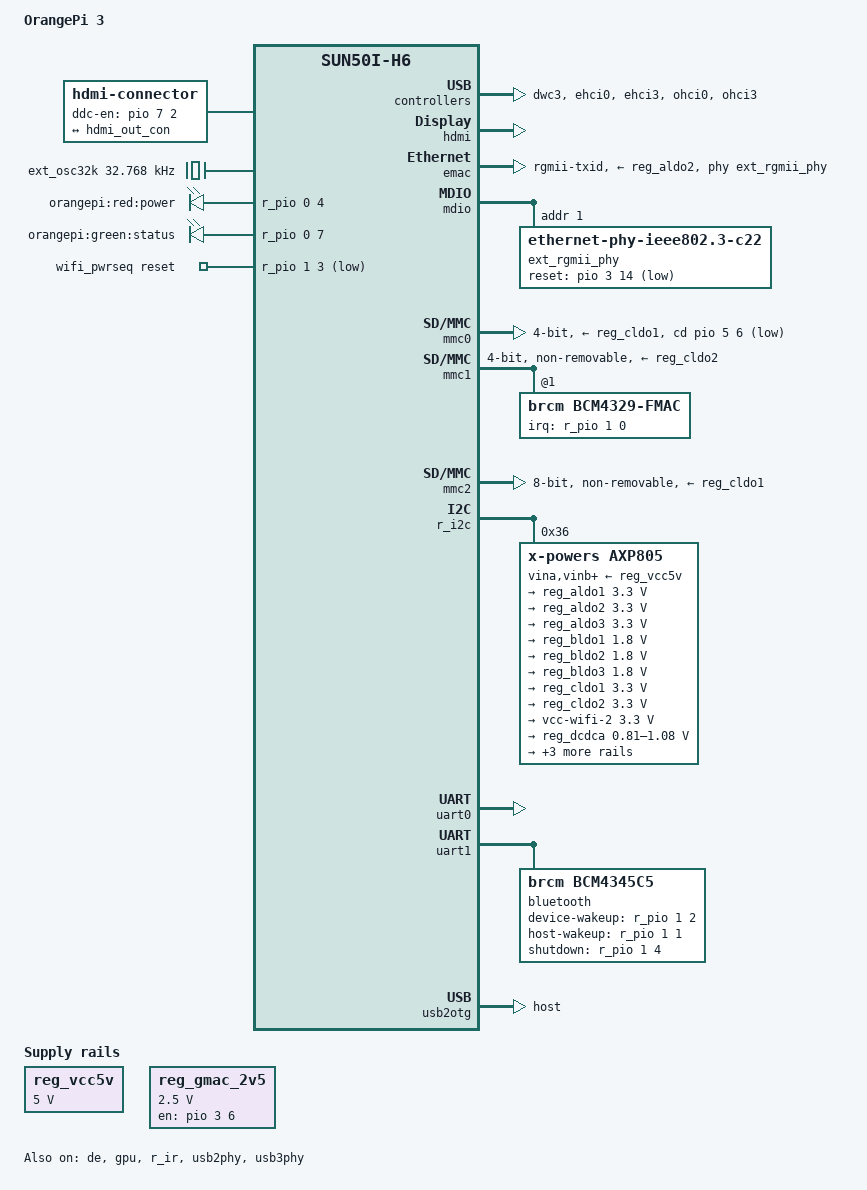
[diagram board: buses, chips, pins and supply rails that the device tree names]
// SPDX-License-Identifier: (GPL-2.0+ OR MIT)
// Copyright (C) 2019 Ondřej Jirman <megous@megous.com>

/dts-v1/;

#include "sun50i-h6.dtsi"
#include "sun50i-h6-cpu-opp.dtsi"

#include <dt-bindings/gpio/gpio.h>

/ {
	model = "OrangePi 3";
	compatible = "xunlong,orangepi-3", "allwinner,sun50i-h6";

	aliases {
		serial0 = &uart0;
		serial1 = &uart1;
		ethernet0 = &emac;
	};

	chosen {
		stdout-path = "serial0:115200n8";
	};

	connector {
		compatible = "hdmi-connector";
		ddc-en-gpios = <&pio 7 2 GPIO_ACTIVE_HIGH>; /* PH2 */
		type = "a";

		port {
			hdmi_con_in: endpoint {
				remote-endpoint = <&hdmi_out_con>;
			};
		};
	};

	ext_osc32k: ext_osc32k_clk {
		#clock-cells = <0>;
		compatible = "fixed-clock";
		clock-frequency = <32768>;
		clock-output-names = "ext_osc32k";
	};

	leds {
		compatible = "gpio-leds";

		power {
			label = "orangepi:red:power";
			gpios = <&r_pio 0 4 GPIO_ACTIVE_HIGH>; /* PL4 */
			default-state = "on";
		};

		status {
			label = "orangepi:green:status";
			gpios = <&r_pio 0 7 GPIO_ACTIVE_HIGH>; /* PL7 */
		};
	};

	reg_vcc5v: vcc5v {
		/* board wide 5V supply directly from the DC jack */
		compatible = "regulator-fixed";
		regulator-name = "vcc-5v";
		regulator-min-microvolt = <5000000>;
		regulator-max-microvolt = <5000000>;
		regulator-always-on;
	};

	reg_gmac_2v5: gmac-2v5 {
		compatible = "regulator-fixed";
		regulator-name = "gmac-2v5";
		regulator-min-microvolt = <2500000>;
		regulator-max-microvolt = <2500000>;
		enable-active-high;
		gpio = <&pio 3 6 GPIO_ACTIVE_HIGH>; /* PD6 */
	};

	wifi_pwrseq: wifi-pwrseq {
		compatible = "mmc-pwrseq-simple";
		clocks = <&rtc 1>;
		clock-names = "ext_clock";
		reset-gpios = <&r_pio 1 3 GPIO_ACTIVE_LOW>; /* PM3 */
		post-power-on-delay-ms = <200>;
	};
};

&cpu0 {
	cpu-supply = <&reg_dcdca>;
};

&de {
	status = "okay";
};

&dwc3 {
	status = "okay";
};

&ehci0 {
	status = "okay";
};

&ehci3 {
	status = "okay";
};

&gpu {
	mali-supply = <&reg_dcdcc>;
	status = "okay";
};

&hdmi {
	status = "okay";
};

&hdmi_out {
	hdmi_out_con: endpoint {
		remote-endpoint = <&hdmi_con_in>;
	};
};

&emac {
	pinctrl-names = "default";
	pinctrl-0 = <&ext_rgmii_pins>;
	phy-mode = "rgmii-txid";
	phy-handle = <&ext_rgmii_phy>;
	/*
	 * The board uses 2.5V RGMII signalling. Power sequence to enable
	 * the phy is to enable GMAC-2V5 and GMAC-3V (aldo2) power rails
	 * at the same time and to wait 100ms. The driver enables phy-io
	 * first. Delay is achieved with enable-ramp-delay on reg_aldo2.
	 */
	phy-supply = <&reg_aldo2>;
	phy-io-supply = <&reg_gmac_2v5>;
	allwinner,rx-delay-ps = <1500>;
	allwinner,tx-delay-ps = <700>;
	status = "okay";
};

&mdio {
	ext_rgmii_phy: ethernet-phy@1 {
		compatible = "ethernet-phy-ieee802.3-c22";
		reg = <1>;

		reset-gpios = <&pio 3 14 GPIO_ACTIVE_LOW>; /* PD14 */
		reset-assert-us = <15000>;
		reset-deassert-us = <40000>;
	};
};

&mmc0 {
	vmmc-supply = <&reg_cldo1>;
	cd-gpios = <&pio 5 6 GPIO_ACTIVE_LOW>; /* PF6 */
	bus-width = <4>;
	status = "okay";
};

&mmc1 {
	vmmc-supply = <&reg_cldo2>;
	vqmmc-supply = <&reg_bldo3>;
	mmc-pwrseq = <&wifi_pwrseq>;
	bus-width = <4>;
	non-removable;
	status = "okay";

	brcm: sdio-wifi@1 {
		reg = <1>;
		compatible = "brcm,bcm4329-fmac";
		interrupt-parent = <&r_pio>;
		interrupts = <1 0 IRQ_TYPE_LEVEL_LOW>; /* PM0 */
		interrupt-names = "host-wake";
	};
};

&mmc2 {
	vmmc-supply = <&reg_cldo1>;
	vqmmc-supply = <&reg_bldo2>;
	cap-mmc-hw-reset;
	non-removable;
	bus-width = <8>;
	status = "okay";
};

&ohci0 {
	status = "okay";
};

&ohci3 {
	status = "okay";
};

&pio {
	vcc-pc-supply = <&reg_bldo2>;
	vcc-pd-supply = <&reg_cldo1>;
	vcc-pg-supply = <&reg_bldo3>;
};

&r_i2c {
	status = "okay";

	axp805: pmic@36 {
		compatible = "x-powers,axp805", "x-powers,axp806";
		reg = <0x36>;
		interrupt-parent = <&r_intc>;
		interrupts = <GIC_SPI 96 IRQ_TYPE_LEVEL_LOW>;
		interrupt-controller;
		#interrupt-cells = <1>;
		x-powers,self-working-mode;
		vina-supply = <&reg_vcc5v>;
		vinb-supply = <&reg_vcc5v>;
		vinc-supply = <&reg_vcc5v>;
		vind-supply = <&reg_vcc5v>;
		vine-supply = <&reg_vcc5v>;
		aldoin-supply = <&reg_vcc5v>;
		bldoin-supply = <&reg_vcc5v>;
		cldoin-supply = <&reg_vcc5v>;

		regulators {
			reg_aldo1: aldo1 {
				regulator-always-on;
				regulator-min-microvolt = <3300000>;
				regulator-max-microvolt = <3300000>;
				regulator-name = "vcc-pl-led-ir";
			};

			reg_aldo2: aldo2 {
				regulator-min-microvolt = <3300000>;
				regulator-max-microvolt = <3300000>;
				regulator-name = "vcc33-audio-tv-ephy-mac";
				regulator-enable-ramp-delay = <100000>;
			};

			/* ALDO3 is shorted to CLDO1 */
			reg_aldo3: aldo3 {
				regulator-always-on;
				regulator-min-microvolt = <3300000>;
				regulator-max-microvolt = <3300000>;
				regulator-name = "vcc33-io-pd-emmc-sd-usb-uart-1";
			};

			reg_bldo1: bldo1 {
				regulator-always-on;
				regulator-min-microvolt = <1800000>;
				regulator-max-microvolt = <1800000>;
				regulator-name = "vcc18-dram-bias-pll";
			};

			reg_bldo2: bldo2 {
				regulator-always-on;
				regulator-min-microvolt = <1800000>;
				regulator-max-microvolt = <1800000>;
				regulator-name = "vcc-efuse-pcie-hdmi-pc";
			};
			
			reg_bldo3: bldo3 {
				regulator-always-on;
				regulator-min-microvolt = <1800000>;
				regulator-max-microvolt = <1800000>;
				regulator-name = "vcc-dcxoio";
			};

			reg_cldo1: cldo1 {
				regulator-always-on;
				regulator-min-microvolt = <3300000>;
				regulator-max-microvolt = <3300000>;
				regulator-name = "vcc33-io-pd-emmc-sd-usb-uart-2";
			};

			reg_cldo2: cldo2 {
				/*
				 * This regulator is connected with CLDO3.
				 * Before the kernel can support synchronized
				 * enable of coupled regulators, keep them
				 * both always on as a ugly hack.
				 */
				regulator-always-on;
				regulator-min-microvolt = <3300000>;
				regulator-max-microvolt = <3300000>;
				regulator-name = "vcc-wifi-1";
			};

			cldo3 {
				/*
				 * This regulator is connected with CLDO2.
				 * See the comments for CLDO2.
				 */
				regulator-always-on;
				regulator-min-microvolt = <3300000>;
				regulator-max-microvolt = <3300000>;
				regulator-name = "vcc-wifi-2";
			};

			reg_dcdca: dcdca {
				regulator-always-on;
				regulator-min-microvolt = <810000>;
				regulator-max-microvolt = <1080000>;
				regulator-name = "vdd-cpu";
			};

			reg_dcdcc: dcdcc {
				regulator-enable-ramp-delay = <32000>;
				regulator-min-microvolt = <810000>;
				regulator-max-microvolt = <1080000>;
				regulator-ramp-delay = <2500>;
				regulator-name = "vdd-gpu";
			};

			reg_dcdcd: dcdcd {
				regulator-always-on;
				regulator-min-microvolt = <960000>;
				regulator-max-microvolt = <960000>;
				regulator-name = "vdd-sys";
			};

			reg_dcdce: dcdce {
				regulator-always-on;
				regulator-min-microvolt = <1200000>;
				regulator-max-microvolt = <1200000>;
				regulator-name = "vcc-dram";
			};

			sw {
				/* unused */
			};
		};
	};
};

&r_ir {
	status = "okay";
};

&r_pio {
	vcc-pm-supply = <&reg_bldo3>;
};

&rtc {
	clocks = <&ext_osc32k>;
};

&uart0 {
	pinctrl-names = "default";
	pinctrl-0 = <&uart0_ph_pins>;
	status = "okay";
};

/* There's the BT part of the AP6256 connected to that UART */
&uart1 {
	pinctrl-names = "default";
	pinctrl-0 = <&uart1_pins>, <&uart1_rts_cts_pins>;
	uart-has-rtscts;
	status = "okay";

	bluetooth {
		compatible = "brcm,bcm4345c5";
		clocks = <&rtc 1>;
		clock-names = "lpo";
		device-wakeup-gpios = <&r_pio 1 2 GPIO_ACTIVE_HIGH>; /* PM2 */
		host-wakeup-gpios = <&r_pio 1 1 GPIO_ACTIVE_HIGH>; /* PM1 */
		shutdown-gpios = <&r_pio 1 4 GPIO_ACTIVE_HIGH>; /* PM4 */
		max-speed = <1500000>;
	};
};

&usb2otg {
	/*
	 * This board doesn't have a controllable VBUS even though it
	 * does have an ID pin. Using it as anything but a USB host is
	 * unsafe.
	 */
	dr_mode = "host";
	status = "okay";
};

&usb2phy {
	usb0_id_det-gpios = <&pio 2 15 GPIO_ACTIVE_HIGH>; /* PC15 */
	usb0_vbus-supply = <&reg_vcc5v>;
	usb3_vbus-supply = <&reg_vcc5v>;
	status = "okay";
};

&usb3phy {
	status = "okay";
};
